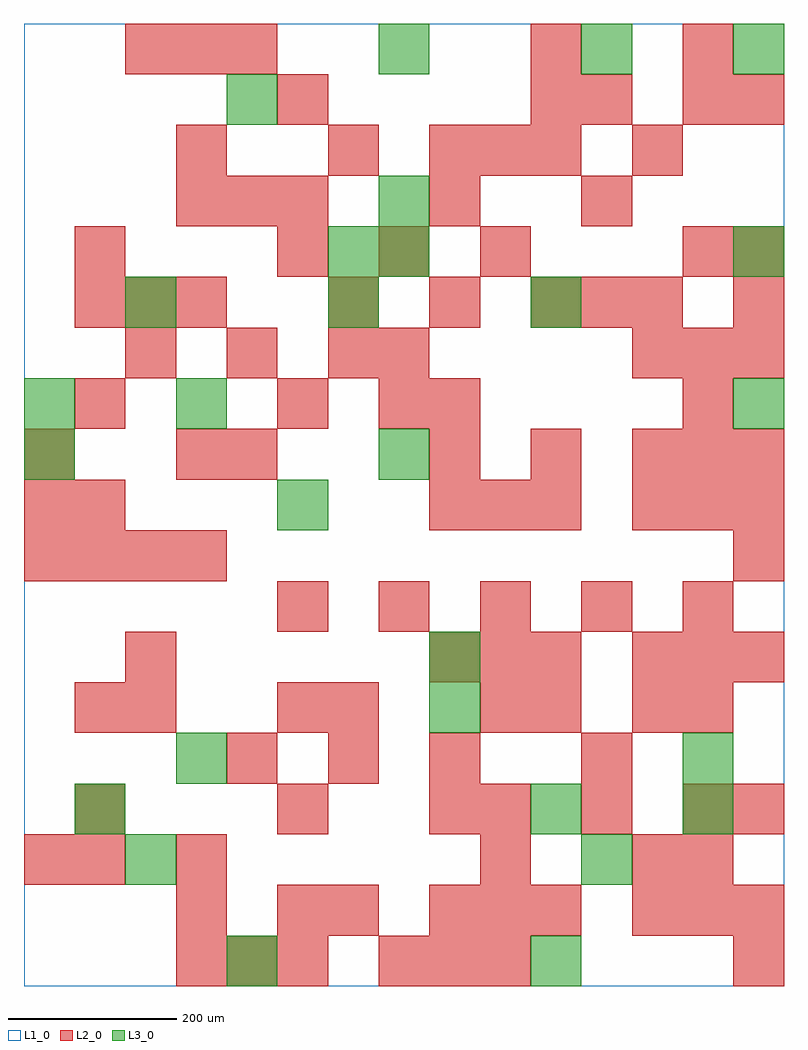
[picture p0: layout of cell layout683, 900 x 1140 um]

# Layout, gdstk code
import gdstk
lib = gdstk.Library(unit=1e-6, precision=1e-09)
def R(c, l, rs):  # rectangles x0, y0, x1, y1
    for r in rs: c.add(gdstk.rectangle(r[:2], r[2:], *l))
def A(c, l, x, y, w, h, nx, ny, dx, dy):  # array of equal rectangles
    R(c, l, [(x+i*dx, y+j*dy, x+i*dx+w, y+j*dy+h) for i in range(nx) for j in range(ny)])
L1_0 = (1, 0)
L2_0 = (2, 0)
L3_0 = (3, 0)

layout683 = lib.new_cell('layout683')
R(layout683, L1_0, [(0,0,900,1140)])
A(layout683, L2_0, 180, 0, 60, 60, 3, 2, 60, 900)
A(layout683, L2_0, 420, 0, 60, 60, 3, 1, 60, 0)
A(layout683, L2_0, 300, 60, 60, 60, 1, 3, 0, 120)
A(layout683, L2_0, 480, 60, 60, 60, 3, 2, 60, 300)
A(layout683, L2_0, 720, 60, 60, 60, 3, 2, 60, 300)
A(layout683, L2_0, 540, 180, 60, 60, 3, 1, 120, 0)
A(layout683, L2_0, 240, 240, 60, 60, 3, 1, 120, 0)
A(layout683, L2_0, 300, 420, 60, 60, 5, 1, 120, 0)
A(layout683, L2_0, 0, 480, 60, 60, 4, 1, 60, 0)
A(layout683, L2_0, 480, 540, 60, 60, 3, 2, 60, 420)
A(layout683, L2_0, 720, 540, 60, 60, 3, 2, 60, 180)
A(layout683, L2_0, 480, 600, 60, 60, 3, 1, 120, 0)
A(layout683, L2_0, 780, 660, 60, 60, 1, 3, 0, 180)
A(layout683, L2_0, 120, 720, 60, 60, 3, 1, 120, 0)
A(layout683, L2_0, 60, 780, 60, 60, 3, 1, 60, 0)
A(layout683, L2_0, 360, 780, 60, 60, 3, 1, 120, 0)
A(layout683, L2_0, 660, 780, 60, 60, 1, 3, 0, 120)
A(layout683, L2_0, 300, 840, 60, 60, 3, 1, 120, 0)
A(layout683, L2_0, 120, 1080, 60, 60, 3, 1, 60, 0)
R(layout683, L2_0, [(840,0,900,60), (180,60,240,120), (360,60,420,120), (0,120,60,180), (60,120,120,180), (180,120,240,180), (540,120,600,180), (720,120,780,180), (780,120,840,180), (60,180,120,240), (480,180,540,240), (840,180,900,240), (660,240,720,300), (60,300,120,360), (120,300,180,360), (360,300,420,360), (540,300,600,360), (600,300,660,360), (720,300,780,360), (780,300,840,360), (120,360,180,420), (840,480,900,540), (0,540,60,600), (60,540,120,600), (0,600,60,660), (180,600,240,660), (240,600,300,660), (780,600,840,660), (840,600,900,660), (60,660,120,720), (300,660,360,720), (420,660,480,720), (480,660,540,720), (420,720,480,780), (720,780,780,840), (840,780,900,840), (60,840,120,900), (840,840,900,900), (480,900,540,960), (180,960,240,1020), (360,960,420,1020), (720,960,780,1020), (300,1020,360,1080), (600,1020,660,1080), (840,1020,900,1080), (600,1080,660,1140), (780,1080,840,1140)])
A(layout683, L3_0, 120, 780, 60, 60, 3, 1, 240, 0)
R(layout683, L3_0, [(240,0,300,60), (600,0,660,60), (120,120,180,180), (660,120,720,180), (60,180,120,240), (600,180,660,240), (780,180,840,240), (180,240,240,300), (780,240,840,300), (480,300,540,360), (480,360,540,420), (300,540,360,600), (0,600,60,660), (420,600,480,660), (0,660,60,720), (180,660,240,720), (840,660,900,720), (360,840,420,900), (420,840,480,900), (840,840,900,900), (420,900,480,960), (240,1020,300,1080), (420,1080,480,1140), (660,1080,720,1140), (840,1080,900,1140)])

lib.write_gds('layout683.gds')
